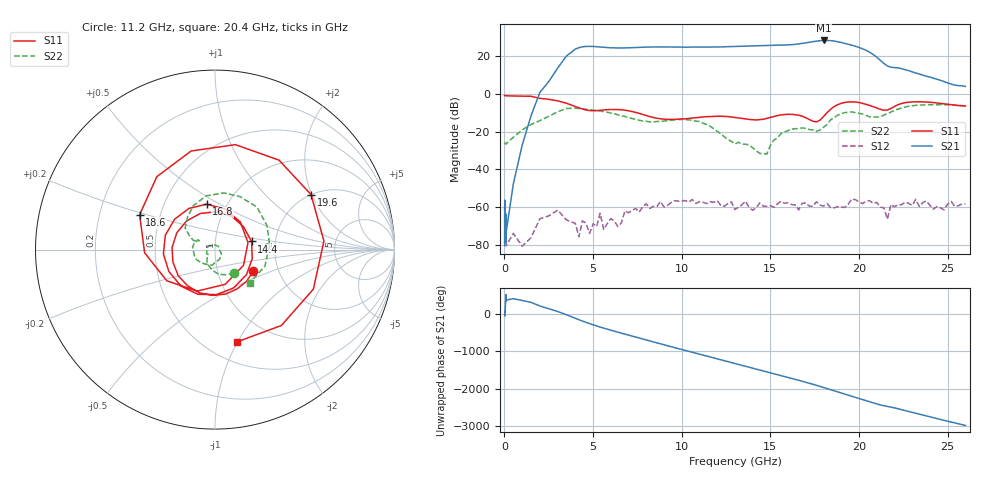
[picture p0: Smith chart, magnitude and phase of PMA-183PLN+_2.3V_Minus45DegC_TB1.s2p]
!Keysight Technologies,N5244A,MY52442000,A.10.40.14
!Date: Thursday, July 16, 2020 10:51:54
!Correction: S11(Full 2 Port(1,2))
!S21(Full 2 Port(1,2))
!S12(Full 2 Port(1,2))
!S22(Full 2 Port(1,2))
!S2P File: Measurements: S11, S21, S12, S22:
# Hz S  dB  R 50
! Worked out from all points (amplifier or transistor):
!   128 points, 10 MHz to 26 GHz, reference 50 ohm
!   highest |S21| = 28.4 dB at 18 GHz (marker M1)
!   |S21| within 3 dB of that: 13.52 GHz to 19.77 GHz (6.246 GHz wide, 37.5 % of centre)
!   unconditionally stable (mu >= 1): start of sweep to end of sweep
!   at 4.8 GHz: K = 101.99, MAG = 26.6 dB, |S12| = -74.0 dB
!   at 13.4 GHz: K = 22.44, MAG = 25.6 dB, |S12| = -58.9 dB
!   at 26 GHz: K = 155.53, MAG = 6.2 dB, |S12| = -58.3 dB
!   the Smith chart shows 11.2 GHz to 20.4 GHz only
!   S11 on the Smith chart (normalised r, x): 11.2 GHz: 1.48, -0.38; 14.4 GHz: 1.50, +0.14; 16.8 GHz: 0.80, +0.44; 18.6 GHz: 0.38, +0.19; 19.6 GHz: 2.00, +1.98; 20.4 GHz: 0.70, -0.99
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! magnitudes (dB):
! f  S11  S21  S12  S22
! 10 MHz  -0.8  -80.6  -59.4  -26.3
! 20 MHz  -0.9  -56.3  -70.9  -26.1
! 50 MHz  -0.9  -72.2  -67.4  -26.5
! 80 MHz  -0.9  -63.7  -69.0  -26.5
! 90 MHz  -0.9  -78.9  -68.2  -26.2
! 100 MHz  -1.0  -73.2  -80.6  -26.4
! 500 MHz  -1.1  -47.9  -74.0  -23.0
! 1 GHz  -1.1  -27.2  -80.8  -19.1
! 2 GHz  -2.3  0.8  -66.2  -14.1
! 4.4 GHz  -8.0  25.0  -67.4  -7.9
! 8.8 GHz  -13.2  25.0  -57.1  -14.6
! 11.2 GHz  -12.2  24.9  -57.5  -15.6
! 13.2 GHz  -12.7  25.3  -60.1  -25.7
! 14.4 GHz  -13.6  25.7  -57.8  -31.6
! 16.8 GHz  -11.8  26.8  -58.0  -18.0
! 17.4 GHz  -14.5  27.8  -59.6  -19.1
! 18 GHz  -12.0  28.4  -59.5  -17.6
! 18.6 GHz  -6.7  28.1  -60.4  -12.5
! 19.6 GHz  -4.2  25.9  -55.7  -9.6
! 20.4 GHz  -5.5  23.2  -57.0  -11.4
! 21.8 GHz  -7.7  14.2  -58.7  -9.6
! 26 GHz  -6.4  4.0  -58.3  -6.5
